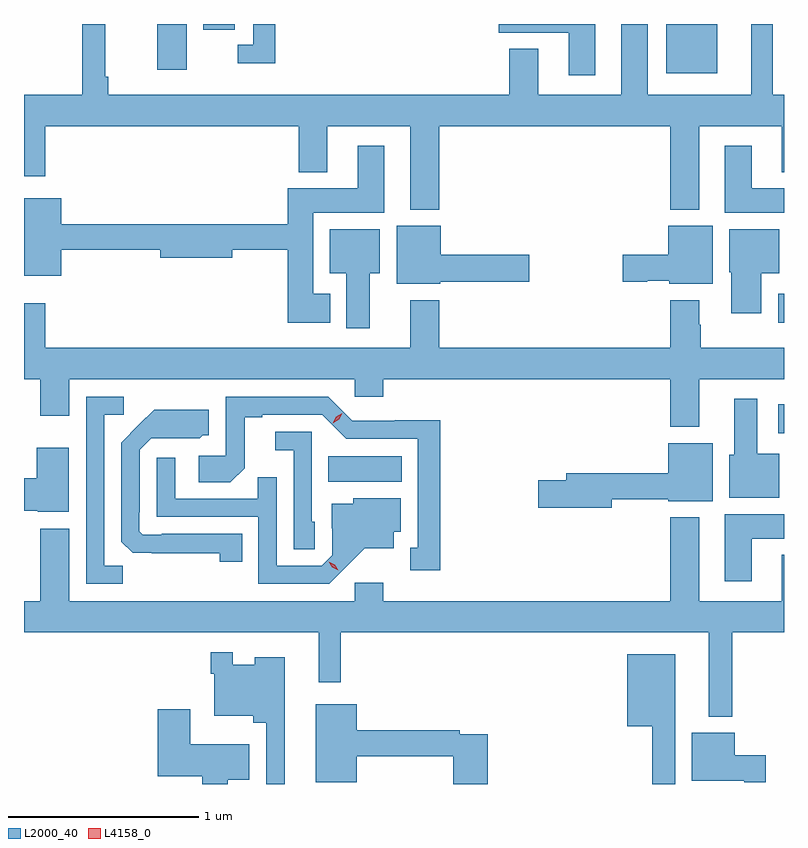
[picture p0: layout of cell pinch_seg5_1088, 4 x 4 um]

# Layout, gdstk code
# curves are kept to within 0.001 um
import gdstk
lib = gdstk.Library(unit=1e-6, precision=1e-09)
def R(c, l, rs):  # rectangles x0, y0, x1, y1
    for r in rs: c.add(gdstk.rectangle(r[:2], r[2:], *l))
def P(c, l, *ps):  # polygons
    for p in ps: c.add(gdstk.Polygon(p, *l))
L2000_40 = (2000, 40)
L4158_0 = (4158, 0)

pinch_seg5_1088 = lib.new_cell('pinch_seg5_1088')
R(pinch_seg5_1088, L2000_40, [(796.042,845.564,796.429,845.698), (798.411,845.819,798.442,845.971), (798.411,846.401,798.442,846.553), (797.822,847.715,798.091,847.973), (795.143,847.731,795.298,847.973), (795.386,847.944,795.55,847.973)])
P(pinch_seg5_1088, L2000_40, [(794.749,847.973),(794.749,847.6),(794.442,847.6),(794.442,847.173),(794.555,847.173),(794.555,847.436),(795.887,847.436),(795.887,847.193),(796.039,847.193),(796.039,847.436),(796.475,847.436),(796.475,846.995),(796.628,846.995),(796.628,847.436),(797.843,847.436),(797.843,846.995),(797.995,846.995),(797.995,847.436),(798.431,847.436),(798.431,847.193),(798.442,847.193),(798.442,847.6),(798.383,847.6),(798.383,847.973),(798.269,847.973),(798.269,847.6),(797.725,847.6),(797.725,847.973),(797.585,847.973),(797.585,847.6),(797.149,847.6),(797.149,847.843),(796.997,847.843),(796.997,847.6),(794.885,847.6),(794.885,847.696),(794.87,847.696),(794.87,847.973)],
  [(795.764,847.973),(795.648,847.973),(795.648,847.863),(795.567,847.863),(795.567,847.766),(795.764,847.766)],
  [(797.449,847.973),(796.94,847.973),(796.94,847.928),(797.309,847.928),(797.309,847.704),(797.449,847.704)],
  [(796.054,846.553),(795.964,846.553),(795.964,846.98),(796.339,846.98),(796.339,847.333),(796.199,847.333),(796.199,847.108),(795.83,847.108),(795.83,846.92),(794.638,846.92),(794.638,847.057),(794.442,847.057),(794.442,846.647),(794.638,846.647),(794.638,846.784),(795.158,846.784),(795.158,846.742),(795.538,846.742),(795.538,846.784),(795.83,846.784),(795.83,846.401),(796.054,846.401)],
  [(798.442,847.108),(798.271,847.108),(798.271,847.333),(798.131,847.333),(798.131,846.98),(798.442,846.98)],
  [(796.632,846.616),(797.101,846.616),(797.101,846.758),(796.636,846.758),(796.636,846.91),(796.403,846.91),(796.403,846.605),(796.632,846.605)],
  [(798.067,846.91),(797.834,846.91),(797.834,846.758),(797.592,846.758),(797.592,846.616),(797.721,846.616),(797.721,846.623),(797.838,846.623),(797.838,846.605),(798.067,846.605)],
  [(796.261,846.662),(796.315,846.662),(796.315,846.892),(796.052,846.892),(796.052,846.662),(796.139,846.662),(796.139,846.372),(796.261,846.372)],
  [(798.322,846.662),(798.418,846.662),(798.418,846.892),(798.155,846.892),(798.155,846.666),(798.164,846.666),(798.164,846.45),(798.322,846.45)],
  [(797.995,846.104),(798.442,846.104),(798.442,846.268),(798.003,846.268),(798.003,846.389),(797.995,846.389),(797.995,846.52),(797.843,846.52),(797.843,846.268),(796.628,846.268),(796.628,846.52),(796.475,846.52),(796.475,846.268),(794.555,846.268),(794.555,846.502),(794.442,846.502),(794.442,846.104),(794.528,846.104),(794.528,845.91),(794.68,845.91),(794.68,846.104),(796.182,846.104),(796.182,846.011),(796.334,846.011),(796.334,846.104),(797.843,846.104),(797.843,845.852),(797.995,845.852)],
  [(796.633,845.888),(796.392,845.888),(796.392,845.886),(796.17,845.886),(796.044,846.012),(795.504,846.012),(795.504,845.7),(795.363,845.7),(795.363,845.56),(795.527,845.56),(795.603,845.636),(795.603,845.904),(795.697,845.904),(795.697,845.916),(796.011,845.916),(796.137,845.79),(796.514,845.79),(796.514,845.217),(796.475,845.217),(796.475,845.097),(796.633,845.097)],
  [(794.961,845.123),(794.865,845.123),(794.865,845.916),(794.968,845.916),(794.968,846.012),(794.769,846.012),(794.769,845.028),(794.961,845.028)],
  [(798.418,845.71),(798.301,845.71),(798.301,846.001),(798.179,846.001),(798.179,845.706),(798.155,845.706),(798.155,845.48),(798.418,845.48)],
  [(795.59,845.289),(795.166,845.289),(795.166,845.286),(795.066,845.286),(795.048,845.304),(795.048,845.404),(795.051,845.404),(795.051,845.733),(795.111,845.793),(795.368,845.792),(795.384,845.808),(795.415,845.808),(795.415,845.944),(795.127,845.944),(794.955,845.77),(794.955,845.248),(795.014,845.189),(795.472,845.188),(795.472,845.142),(795.59,845.142)],
  [(795.972,845.352),(795.957,845.352),(795.957,845.826),(795.765,845.826),(795.765,845.729),(795.861,845.729),(795.861,845.209),(795.972,845.209)],
  [(797.536,845.473),(797.834,845.473),(797.834,845.462),(798.067,845.462),(798.067,845.767),(797.834,845.767),(797.834,845.609),(797.297,845.609),(797.297,845.573),(797.148,845.573),(797.148,845.426),(797.536,845.426)],
  [(794.677,845.743),(794.51,845.743),(794.51,845.582),(794.442,845.582),(794.442,845.41),(794.514,845.41),(794.514,845.405),(794.677,845.405)],
  [(796.132,845.111),(796.235,845.213),(796.387,845.213),(796.387,845.3),(796.426,845.3),(796.426,845.476),(796.176,845.476),(796.176,845.449),(796.061,845.449),(796.061,845.32),(796.065,845.32),(796.065,845.178),(796.008,845.121),(795.771,845.121),(795.771,845.588),(795.673,845.588),(795.673,845.475),(795.237,845.475),(795.237,845.689),(795.141,845.689),(795.141,845.379),(795.675,845.379),(795.675,845.028),(796.048,845.028)],
  [(798.271,845.264),(798.442,845.264),(798.442,845.392),(798.131,845.392),(798.131,845.04),(798.271,845.04)],
  [(794.68,845.317),(794.528,845.317),(794.528,844.936),(794.442,844.936),(794.442,844.772),(795.992,844.772),(795.992,844.509),(796.109,844.509),(796.109,844.772),(798.047,844.772),(798.047,844.328),(798.169,844.328),(798.169,844.772),(798.442,844.772),(798.442,845.179),(798.431,845.179),(798.431,844.936),(797.995,844.936),(797.995,845.377),(797.843,845.377),(797.843,844.936),(796.334,844.936),(796.334,845.032),(796.182,845.032),(796.182,844.936),(794.68,844.936)],
  [(795.814,844.639),(795.656,844.639),(795.656,844.6),(795.54,844.6),(795.54,844.666),(795.424,844.666),(795.424,844.553),(795.444,844.553),(795.444,844.331),(795.649,844.331),(795.649,844.295),(795.717,844.295),(795.717,843.973),(795.814,843.973)],
  [(797.869,844.657),(797.618,844.657),(797.618,844.277),(797.748,844.277),(797.748,843.973),(797.869,843.973)],
  [(796.883,844.236),(796.736,844.236),(796.736,844.256),(796.192,844.256),(796.192,844.393),(795.977,844.393),(795.977,843.983),(796.192,843.983),(796.192,844.12),(796.7,844.12),(796.7,843.973),(796.883,843.973)],
  [(795.514,843.995),(795.628,843.995),(795.628,844.183),(795.316,844.183),(795.316,844.366),(795.146,844.366),(795.146,844.013),(795.38,844.013),(795.38,843.973),(795.514,843.973)],
  [(798.346,844.124),(798.184,844.124),(798.184,844.243),(797.957,844.243),(797.957,843.989),(798.233,843.989),(798.233,843.982),(798.346,843.982)])
P(pinch_seg5_1088, L4158_0, [(796.067,845.873),(796.067,845.873),(796.085,845.906),(796.117,845.924),(796.118,845.924),(796.118,845.924),(796.1,845.892),(796.068,845.873)],
  [(796.095,845.099),(796.064,845.114),(796.046,845.143),(796.046,845.143),(796.047,845.143),(796.078,845.128),(796.096,845.099),(796.096,845.099)])

lib.write_gds('pinch_seg5_1088.gds')
